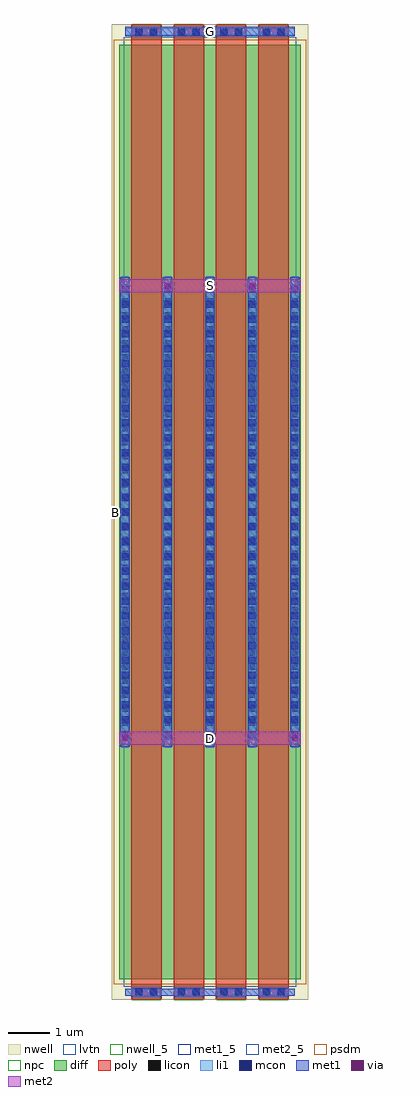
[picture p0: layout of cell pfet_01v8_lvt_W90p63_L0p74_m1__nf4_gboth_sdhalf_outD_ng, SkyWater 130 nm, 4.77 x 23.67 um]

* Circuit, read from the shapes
.subckt pfet_01v8_lvt_W90p63_L0p74_m1__nf4_gboth_sdhalf_outD_ng B D G S
XM1 S G D B sky130_fd_pr__pfet_01v8_lvt w=22.66 l=0.74 m=4
.ends

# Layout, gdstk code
import gdstk
lib = gdstk.Library(unit=1e-6, precision=1e-09)
def R(c, l, rs):  # rectangles x0, y0, x1, y1
    for r in rs: c.add(gdstk.rectangle(r[:2], r[2:], *l))
def A(c, l, x, y, w, h, nx, ny, dx, dy):  # array of equal rectangles
    R(c, l, [(x+i*dx, y+j*dy, x+i*dx+w, y+j*dy+h) for i in range(nx) for j in range(ny)])
nwell_5 = (64, 5)
nwell = (64, 20)
diff = (65, 20)
poly = (66, 20)
licon = (66, 44)
li1 = (67, 20)
mcon = (67, 44)
met1_5 = (68, 5)
met1 = (68, 20)
via = (68, 44)
met2_5 = (69, 5)
met2 = (69, 20)
psdm = (94, 20)
npc = (95, 20)
lvtn = (125, 44)

sky130_fd_pr__pfet_01v8_ = lib.new_cell('sky130_fd_pr__pfet_01v8_lvt_FDBHFW')
R(sky130_fd_pr__pfet_01v8_, nwell, [(-2.385,-11.83,2.385,11.83)])
R(sky130_fd_pr__pfet_01v8_, diff, [(-2.205,-11.33,2.205,11.33)])
A(sky130_fd_pr__pfet_01v8_, poly, -1.915, -11.815, 0.74, 23.63, 4, 1, 1.03, 0)
A(sky130_fd_pr__pfet_01v8_, licon, -2.145, -5.525, 0.17, 0.17, 5, 33, 1.03, 0.34)
R(sky130_fd_pr__pfet_01v8_, licon, [(-1.8,-11.735,-1.63,-11.565), (-1.46,-11.735,-1.29,-11.565), (-0.77,-11.735,-0.6,-11.565), (-0.43,-11.735,-0.26,-11.565), (0.26,-11.735,0.43,-11.565), (0.6,-11.735,0.77,-11.565), (1.29,-11.735,1.46,-11.565), (1.63,-11.735,1.8,-11.565), (-1.8,11.565,-1.63,11.735), (-1.46,11.565,-1.29,11.735), (-0.77,11.565,-0.6,11.735), (-0.43,11.565,-0.26,11.735), (0.26,11.565,0.43,11.735), (0.6,11.565,0.77,11.735), (1.29,11.565,1.46,11.735), (1.63,11.565,1.8,11.735)])
A(sky130_fd_pr__pfet_01v8_, li1, -2.145, -5.715, 0.17, 11.43, 5, 1, 1.03, 0)
R(sky130_fd_pr__pfet_01v8_, li1, [(-2.06,-11.735,2.06,-11.565), (-2.06,11.565,2.06,11.735)])
A(sky130_fd_pr__pfet_01v8_, mcon, -2.145, -5.485, 0.17, 0.17, 5, 31, 1.03, 0.36)
R(sky130_fd_pr__pfet_01v8_, mcon, [(-1.81,-11.735,-1.64,-11.565), (-1.45,-11.735,-1.28,-11.565), (-0.78,-11.735,-0.61,-11.565), (-0.42,-11.735,-0.25,-11.565), (0.25,-11.735,0.42,-11.565), (0.61,-11.735,0.78,-11.565), (1.28,-11.735,1.45,-11.565), (1.64,-11.735,1.81,-11.565), (-1.81,11.565,-1.64,11.735), (-1.45,11.565,-1.28,11.735), (-0.78,11.565,-0.61,11.735), (-0.42,11.565,-0.25,11.735), (0.25,11.565,0.42,11.735), (0.61,11.565,0.78,11.735), (1.28,11.565,1.45,11.735), (1.64,11.565,1.81,11.735)])
A(sky130_fd_pr__pfet_01v8_, met1, -1.895, -11.765, 0.7, 0.03, 4, 2, 1.03, 0.2)
A(sky130_fd_pr__pfet_01v8_, met1, -2.175, -5.695, 0.23, 11.39, 5, 1, 1.03, 0)
A(sky130_fd_pr__pfet_01v8_, met1, -1.895, 11.535, 0.7, 0.03, 4, 2, 1.03, 0.2)
R(sky130_fd_pr__pfet_01v8_, met1, [(-2.06,-11.735,2.06,-11.565), (-2.06,11.565,2.06,11.735)])
R(sky130_fd_pr__pfet_01v8_, psdm, [(-2.33,-11.455,2.33,11.455)])
A(sky130_fd_pr__pfet_01v8_, npc, -1.9, -11.835, 0.71, 0.37, 4, 2, 1.03, 23.3)
R(sky130_fd_pr__pfet_01v8_, lvtn, [(-2.095,-11.51,2.095,11.51)])
sky130_fd_pr__pfet_01v8_.add(gdstk.Label('D0', (-2.06,0), layer=67, texttype=5))
sky130_fd_pr__pfet_01v8_.add(gdstk.Label('G', (1.545,11.65), layer=67, texttype=5))
sky130_fd_pr__pfet_01v8_.add(gdstk.Label('G', (0.515,11.65), layer=67, texttype=5))
sky130_fd_pr__pfet_01v8_.add(gdstk.Label('G', (-0.515,11.65), layer=67, texttype=5))
sky130_fd_pr__pfet_01v8_.add(gdstk.Label('G', (-1.545,11.65), layer=67, texttype=5))
sky130_fd_pr__pfet_01v8_.add(gdstk.Label('S1', (-1.03,0), layer=67, texttype=5))
sky130_fd_pr__pfet_01v8_.add(gdstk.Label('D2', (0,0), layer=67, texttype=5))
sky130_fd_pr__pfet_01v8_.add(gdstk.Label('S3', (1.03,0), layer=67, texttype=5))

pfet_01v8_lvt_w90p63_l0p = lib.new_cell('pfet_01v8_lvt_W90p63_L0p74_m1__nf4_gboth_sdhalf_outD_ng')
R(pfet_01v8_lvt_w90p63_l0p, nwell_5, [(0.05,11.78,0.15,11.88)])
R(pfet_01v8_lvt_w90p63_l0p, nwell, [(0.05,11.78,0.15,11.88)])
R(pfet_01v8_lvt_w90p63_l0p, met1_5, [(0.325,23.365,4.445,23.595)])
A(pfet_01v8_lvt_w90p63_l0p, met1, 0.195, 6.185, 0.26, 0.32, 3, 1, 2.06, 0)
R(pfet_01v8_lvt_w90p63_l0p, met1, [(1.225,17.155,1.485,17.475), (3.285,17.155,3.545,17.475), (0.325,23.365,4.445,23.595)])
A(pfet_01v8_lvt_w90p63_l0p, via, 0.25, 6.27, 0.15, 0.15, 3, 1, 2.06, 0)
R(pfet_01v8_lvt_w90p63_l0p, via, [(1.28,17.24,1.43,17.39), (3.34,17.24,3.49,17.39)])
R(pfet_01v8_lvt_w90p63_l0p, met2_5, [(0.19,6.185,4.58,6.505), (0.19,17.155,4.58,17.475)])
R(pfet_01v8_lvt_w90p63_l0p, met2, [(0.19,6.185,4.58,6.505), (0.19,17.155,4.58,17.475)])
pfet_01v8_lvt_w90p63_l0p.add(gdstk.Reference(sky130_fd_pr__pfet_01v8_, (2.385,11.83)))
pfet_01v8_lvt_w90p63_l0p.add(gdstk.Label('S', (2.385,17.315), layer=69, texttype=5))
pfet_01v8_lvt_w90p63_l0p.add(gdstk.Label('D', (2.385,6.345), layer=69, texttype=5))
pfet_01v8_lvt_w90p63_l0p.add(gdstk.Label('G', (2.385,23.48), layer=68, texttype=5))
pfet_01v8_lvt_w90p63_l0p.add(gdstk.Label('B', (0.1,11.83), layer=64, texttype=5))

lib.write_gds('pfet_01v8_lvt_W90p63_L0p74_m1__nf4_gboth_sdhalf_outD_ng.gds')
